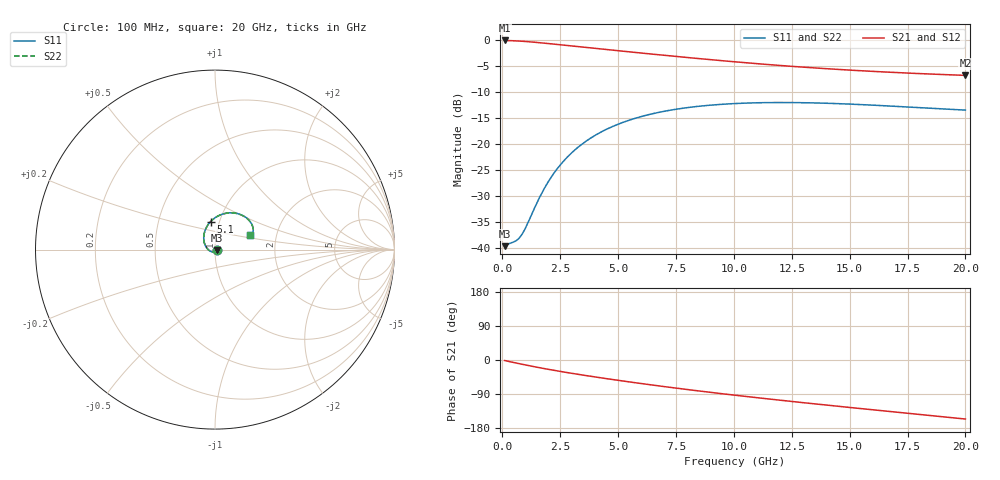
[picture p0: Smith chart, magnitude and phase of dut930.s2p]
! Touchstone file exported from HFSS 2024.1.0
!  File:  C:/UserFiles/LocalFiles/RDL_TSV_Batchsim/temp_RDL_TSV_930_1779960429.aedt
!  Generated:  05:40:45 PM May 28, 2026
!  Design:  RDL_TSV
!  Project:  temp_RDL_TSV_930_1779960429
!  Setup:  Setup1
!  Solution:  Sweep
! Variables:
!  dtsv = 9.83um
!  hbump = 3um
!  htsv = 64.22um
!  ldown = 345.49um
!  lrdl = 307.86um
!  p = 40
!  p1 = 42.15um
!  rhole = 10um
!  subl = 2267.91um
!  t = 450um
!  tdown = 4.64um
!  trdl = 2.97um
!  viad = 10um
!  wdown = 18.12um
!  wrdl = 29.6um
!  xbump = 18um
# GHz S MA R 50.000000
! Terminal data exported
! Port[1] = TM1_1_T1
! Port[2] = TM1_4_T1
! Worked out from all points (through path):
!   200 points, 100 MHz to 20 GHz, reference 50 ohm
!   highest |S21| = -0.09 dB at 100 MHz (marker M1); lowest = -6.8 dB at 20 GHz (marker M2)
!   group delay of S21, straight-line fit = 20.6 ps
!   lowest |S11| = -39.6 dB at 100 MHz (marker M3), VSWR 1.02, Z = 51 - j0.134 ohm
!   |S11| at or under -10 dB: start of sweep to end of sweep
!   |S22| runs from -39.6 to -12.0 dB; largest |S21 - S12| = 2.1e-14
!   S11 on the Smith chart (normalised r, x): 100 MHz: 1.02, -0.00; 5.1 GHz: 0.91, +0.29; 20 GHz: 1.46, +0.24
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0.1  0.01042 -7.2  0.9892 -1.4  0.9892 -1.4  0.01042 -7.2
! Gamma 0 0 0 0
! Port Impedance 50 0 50 0
0.6  0.01176 -64.2  0.9795 -8.0  0.9795 -8.0  0.01177 -64.1
0.8  0.01302 -91.3  0.9737 -10.6  0.9737 -10.6  0.01303 -91.3
1  0.01556 -116.4  0.967 -13.1  0.967 -13.1  0.01556 -116.4
1.7  0.03353 -173.1  0.9374 -21.4  0.9374 -21.4  0.03349 -173.0
2.1  0.04755 168.0  0.9183 -25.9  0.9183 -25.9  0.04748 168.1
2.4  0.0589 156.9  0.9037 -29.1  0.9037 -29.1  0.05881 157.0
2.7  0.0706 147.4  0.8892 -32.1  0.8892 -32.1  0.07049 147.5
3.1  0.08637 136.6  0.8703 -36.1  0.8703 -36.1  0.08622 136.6
3.5  0.1019 127.3  0.8518 -40.0  0.8518 -40.0  0.1018 127.3
4.2  0.128 113.5  0.821 -46.5  0.821 -46.5  0.1277 113.5
5.1  0.158 99.0  0.7836 -54.5  0.7836 -54.5  0.1577 99.0
5.9  0.181 88.3  0.7523 -61.3  0.7523 -61.3  0.1806 88.3
6.8  0.2023 78.0  0.719 -68.7  0.719 -68.7  0.2019 78.0
8.3  0.2281 63.9  0.6681 -80.3  0.6681 -80.3  0.2276 63.8
10.1  0.2451 50.6  0.6149 -93.3  0.6149 -93.3  0.2446 50.5
11.7  0.2503 41.3  0.5752 -104.2  0.5752 -104.2  0.2498 41.3
13.4  0.2485 33.7  0.5401 -115.2  0.5401 -115.2  0.248 33.6
15  0.2419 28.3  0.5132 -125.2  0.5132 -125.2  0.2415 28.2
16.7  0.232 24.4  0.4899 -135.7  0.4899 -135.7  0.2315 24.3
18.3  0.2217 22.4  0.4722 -145.4  0.4722 -145.4  0.2212 22.3
20  0.2118 22.1  0.4567 -155.8  0.4567 -155.8  0.2114 22.0
